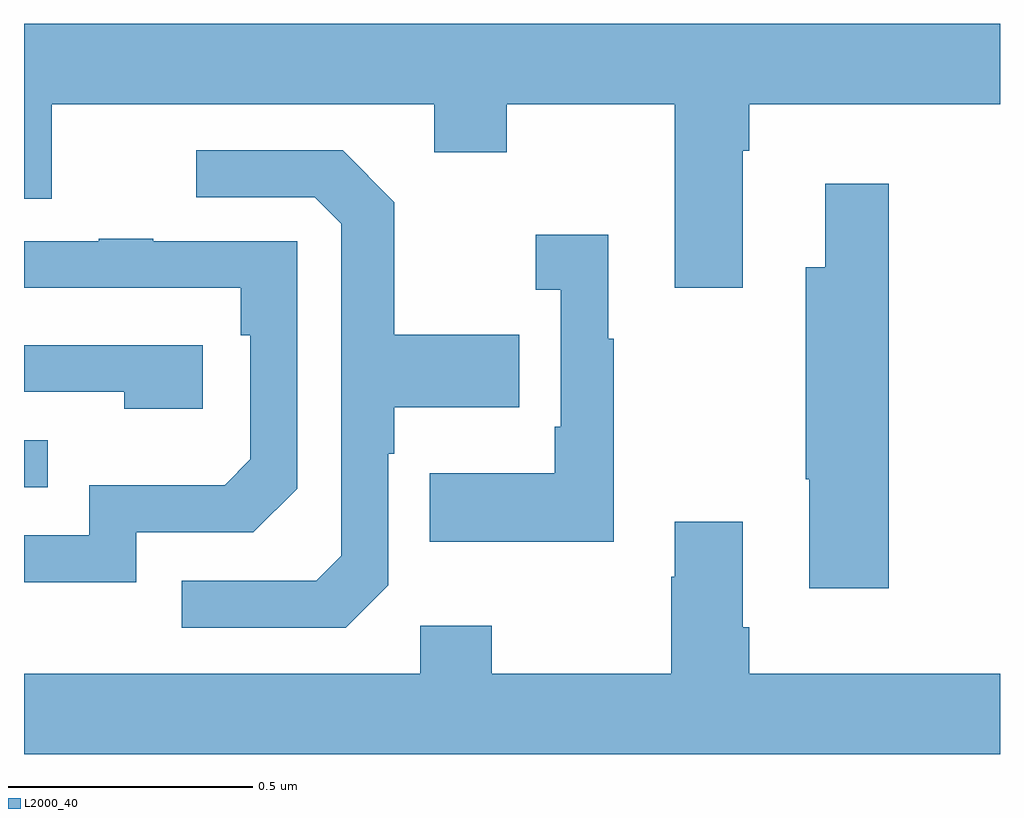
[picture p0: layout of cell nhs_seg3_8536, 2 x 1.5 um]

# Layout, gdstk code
import gdstk
lib = gdstk.Library(unit=1e-6, precision=1e-09)
def R(c, l, rs):  # rectangles x0, y0, x1, y1
    for r in rs: c.add(gdstk.rectangle(r[:2], r[2:], *l))
def P(c, l, *ps):  # polygons
    for p in ps: c.add(gdstk.Polygon(p, *l))
L2000_40 = (2000, 40)

nhs_seg3_8536 = lib.new_cell('nhs_seg3_8536')
R(nhs_seg3_8536, L2000_40, [(217,700.131,217.049,700.227)])
P(nhs_seg3_8536, L2000_40, [(218.473,700.82),(218.486,700.82),(218.486,700.916),(219,700.916),(219,701.08),(217,701.08),(217,700.722),(217.057,700.722),(217.057,700.916),(217.841,700.916),(217.841,700.817),(217.989,700.817),(217.989,700.916),(218.333,700.916),(218.333,700.539),(218.473,700.539)],
  [(217.746,699.93),(217.746,700.199),(217.759,700.199),(217.759,700.295),(218.015,700.295),(218.015,700.443),(217.759,700.443),(217.759,700.715),(217.653,700.821),(217.353,700.821),(217.353,700.725),(217.596,700.725),(217.65,700.671),(217.65,699.99),(217.599,699.939),(217.323,699.939),(217.323,699.843),(217.659,699.843)],
  [(218.772,700.753),(218.642,700.753),(218.642,700.582),(218.602,700.582),(218.602,700.147),(218.609,700.147),(218.609,699.924),(218.772,699.924)],
  [(218.209,700.435),(218.197,700.435),(218.197,700.648),(218.049,700.648),(218.049,700.535),(218.1,700.535),(218.1,700.255),(218.088,700.255),(218.088,700.159),(217.831,700.159),(217.831,700.019),(218.209,700.019)],
  [(217.23,700.038),(217.47,700.038),(217.56,700.128),(217.56,700.635),(217.265,700.635),(217.265,700.64),(217.153,700.64),(217.153,700.635),(217,700.635),(217,700.539),(217.444,700.539),(217.444,700.442),(217.464,700.442),(217.464,700.188),(217.411,700.135),(217.134,700.135),(217.134,700.032),(217,700.032),(217,699.936),(217.23,699.936)],
  [(217.366,700.422),(217,700.422),(217,700.326),(217.205,700.326),(217.205,700.292),(217.366,700.292)],
  [(219,699.748),(218.486,699.748),(218.486,699.844),(218.473,699.844),(218.473,700.06),(218.333,700.06),(218.333,699.947),(218.326,699.947),(218.326,699.748),(217.959,699.748),(217.959,699.847),(217.812,699.847),(217.812,699.748),(217,699.748),(217,699.584),(219,699.584)])

lib.write_gds('nhs_seg3_8536.gds')
